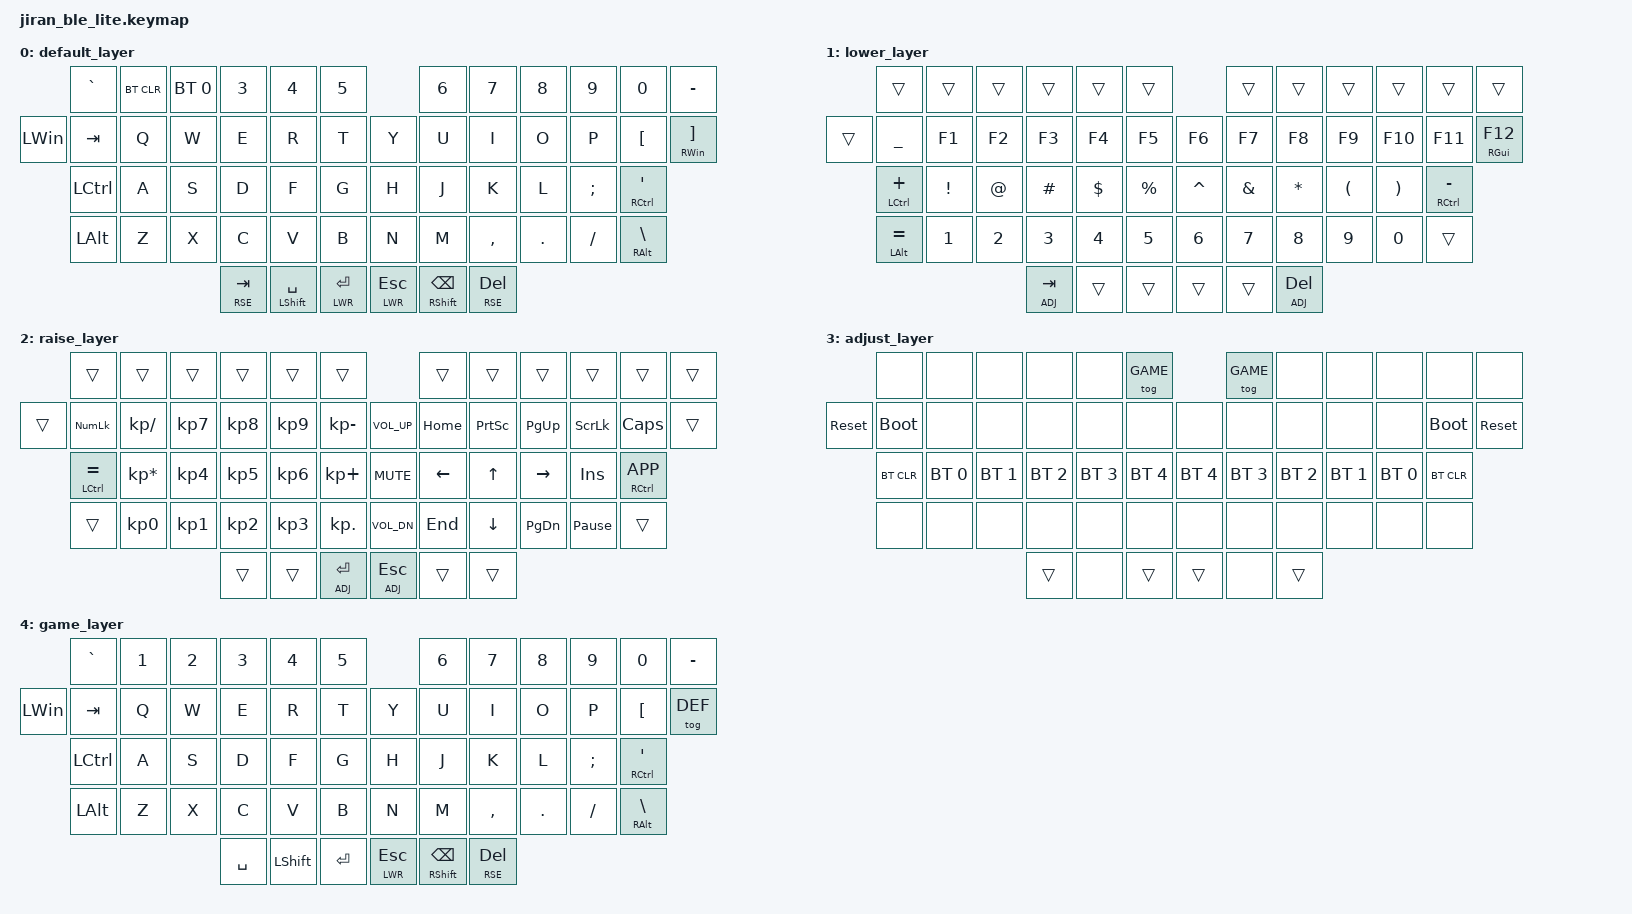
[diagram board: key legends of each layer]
/*
 * Copyright (c) 2021 The ZMK Contributors
 *
 * SPDX-License-Identifier: MIT
 */

#include <behaviors.dtsi>
#include <dt-bindings/zmk/keys.h>
#include <dt-bindings/zmk/bt.h>

&lt { quick_tap_ms = <200>; };
&mt { quick_tap_ms = <200>; };

#define DEF 0
#define LWR 1
#define RSE 2
#define ADJ 3
#define GAME 4

/ {
        keymap {
                compatible = "zmk,keymap";

                default_layer {
                        bindings = <
          &kp GRAVE  &bt BT_CLR  &bt BT_SEL 0  &kp N3       &kp N4           &kp N5             &kp N6       &kp N7          &kp N8       &kp N9   &kp N0    &kp MINUS
&kp LWIN  &kp TAB    &kp Q   &kp W   &kp E        &kp R            &kp T              &kp Y        &kp U           &kp I        &kp O    &kp P     &kp LBKT       &mt RWIN RBKT
          &kp LCTRL  &kp A   &kp S   &kp D        &kp F            &kp G              &kp H        &kp J           &kp K        &kp L    &kp SEMI  &mt RCTRL SQT
          &kp LALT   &kp Z   &kp X   &kp C        &kp V            &kp B              &kp N        &kp M           &kp COMMA    &kp DOT  &kp FSLH  &mt RALT BSLH
                                     &lt RSE TAB  &mt LSHFT SPACE  &lt LWR RET        &lt LWR ESC  &mt RSHFT BSPC  &lt RSE DEL
                        >;
                };

                lower_layer {
                        bindings = <
        &trans          &trans    &trans  &trans       &trans    &trans           &trans     &trans    &trans       &trans    &trans    &trans
&trans  &kp UNDER       &kp F1    &kp F2  &kp F3       &kp F4    &kp F5           &kp F6     &kp F7    &kp F8       &kp F9    &kp F10   &kp F11          &mt RGUI F12
        &mt LCTRL PLUS  &kp EXCL  &kp AT  &kp HASH     &kp DLLR  &kp PRCNT        &kp CARET  &kp AMPS  &kp STAR     &kp LPAR  &kp RPAR  &mt RCTRL MINUS
        &mt LALT EQUAL  &kp N1    &kp N2  &kp N3       &kp N4    &kp N5           &kp N6     &kp N7    &kp N8       &kp N9    &kp N0    &trans
                                          &lt ADJ TAB  &trans    &trans           &trans     &trans    &lt ADJ DEL
                       >;
               };

               raise_layer {
                        bindings = <
        &trans           &trans           &trans     &trans     &trans     &trans              &trans        &trans    &trans     &trans     &trans           &trans
&trans  &kp KP_NUM       &kp KP_SLASH     &kp KP_N7  &kp KP_N8  &kp KP_N9  &kp KP_MINUS        &kp C_VOL_UP  &kp HOME  &kp PSCRN  &kp PG_UP  &kp SLCK         &kp CAPS         &trans
        &mt LCTRL EQUAL  &kp KP_MULTIPLY  &kp KP_N4  &kp KP_N5  &kp KP_N6  &kp KP_PLUS         &kp C_MUTE    &kp LEFT  &kp UP     &kp RIGHT  &kp INS          &mt RCTRL K_APP
        &trans           &kp KP_N0        &kp KP_N1  &kp KP_N2  &kp KP_N3  &kp KP_DOT          &kp C_VOL_DN  &kp END   &kp DOWN   &kp PG_DN  &kp PAUSE_BREAK  &trans
                                                     &trans     &trans     &lt ADJ RET         &lt ADJ ESC   &trans    &trans
                       >;
               };

               adjust_layer {
                        bindings = <
        &none        &none         &none         &none         &none         &tog GAME           &tog GAME     &none         &none         &none         &none         &none
&sys_reset  &bootloader  &none         &none         &none         &none         &none               &none         &none         &none         &none         &none         &bootloader  &sys_reset
        &bt BT_CLR   &bt BT_SEL 0  &bt BT_SEL 1  &bt BT_SEL 2  &bt BT_SEL 3  &bt BT_SEL 4        &bt BT_SEL 4  &bt BT_SEL 3  &bt BT_SEL 2  &bt BT_SEL 1  &bt BT_SEL 0  &bt BT_CLR
        &none        &none         &none         &none         &none         &none               &none         &none         &none         &none         &none         &none
                                                 &trans        &none         &trans              &trans        &none         &trans
                       >;
               };

               game_layer {
                        bindings = <
          &kp GRAVE  &kp N1  &kp N2  &kp N3       &kp N4           &kp N5             &kp N6       &kp N7          &kp N8       &kp N9   &kp N0    &kp MINUS
&kp LWIN  &kp TAB    &kp Q   &kp W   &kp E        &kp R            &kp T              &kp Y        &kp U           &kp I        &kp O    &kp P     &kp LBKT       &tog DEF
          &kp LCTRL  &kp A   &kp S   &kp D        &kp F            &kp G              &kp H        &kp J           &kp K        &kp L    &kp SEMI  &mt RCTRL SQT
          &kp LALT   &kp Z   &kp X   &kp C        &kp V            &kp B              &kp N        &kp M           &kp COMMA    &kp DOT  &kp FSLH  &mt RALT BSLH
                                     &kp SPACE    &kp LSHFT        &kp RET           &lt LWR ESC  &mt RSHFT BSPC  &lt RSE DEL
                        >;
                };
        };
};
